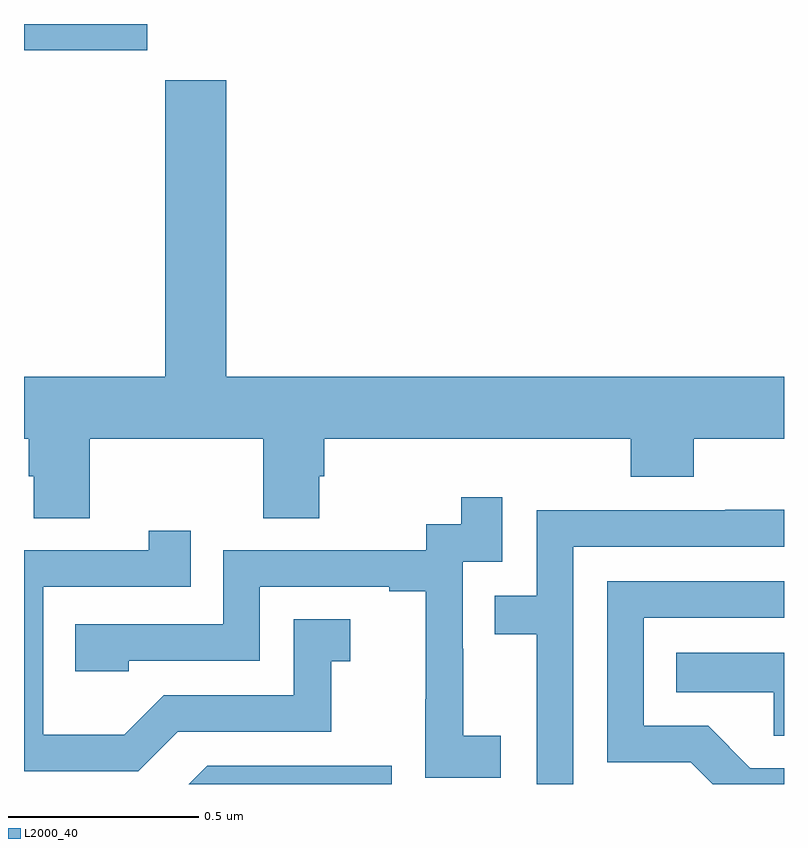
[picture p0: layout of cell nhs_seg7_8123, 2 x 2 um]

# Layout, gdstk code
import gdstk
lib = gdstk.Library(unit=1e-6, precision=1e-09)
def R(c, l, rs):  # rectangles x0, y0, x1, y1
    for r in rs: c.add(gdstk.rectangle(r[:2], r[2:], *l))
def P(c, l, *ps):  # polygons
    for p in ps: c.add(gdstk.Polygon(p, *l))
L2000_40 = (2000, 40)

nhs_seg7_8123 = lib.new_cell('nhs_seg7_8123')
R(nhs_seg7_8123, L2000_40, [(220,1042.931,220.324,1043)])
P(nhs_seg7_8123, L2000_40, [(220.173,1041.908),(220.63,1041.908),(220.63,1041.7),(220.777,1041.7),(220.777,1041.81),(220.79,1041.81),(220.79,1041.908),(221.597,1041.908),(221.597,1041.809),(221.762,1041.809),(221.762,1041.908),(222,1041.908),(222,1042.072),(220.532,1042.072),(220.532,1042.852),(220.372,1042.852),(220.372,1042.072),(220,1042.072),(220,1041.908),(220.013,1041.908),(220.013,1041.81),(220.025,1041.81),(220.025,1041.7),(220.173,1041.7)],
  [(221.254,1041.127),(221.156,1041.127),(221.156,1041.356),(221.154,1041.356),(221.154,1041.585),(221.259,1041.585),(221.259,1041.754),(221.151,1041.754),(221.151,1041.684),(221.058,1041.684),(221.058,1041.615),(220.524,1041.615),(220.524,1041.42),(220.135,1041.42),(220.135,1041.297),(220.275,1041.297),(220.275,1041.324),(220.62,1041.324),(220.62,1041.519),(220.961,1041.519),(220.961,1041.507),(221.057,1041.507),(221.057,1041.223),(221.056,1041.223),(221.056,1041.017),(221.254,1041.017)],
  [(221.445,1041.624),(222,1041.624),(222,1041.722),(221.845,1041.722),(221.845,1041.72),(221.349,1041.72),(221.349,1041.495),(221.239,1041.495),(221.239,1041.394),(221.349,1041.394),(221.349,1041),(221.445,1041)],
  [(220.405,1041.138),(220.809,1041.138),(220.809,1041.323),(220.858,1041.323),(220.858,1041.433),(220.71,1041.433),(220.71,1041.234),(220.368,1041.234),(220.264,1041.13),(220.05,1041.13),(220.05,1041.519),(220.439,1041.519),(220.439,1041.667),(220.328,1041.667),(220.328,1041.615),(220,1041.615),(220,1041.033),(220.3,1041.033)],
  [(222,1041.042),(221.911,1041.042),(221.8,1041.153),(221.631,1041.153),(221.631,1041.438),(222,1041.438),(222,1041.534),(221.535,1041.534),(221.535,1041.057),(221.754,1041.057),(221.812,1041),(222,1041)],
  [(222,1041.346),(221.716,1041.346),(221.716,1041.242),(221.973,1041.242),(221.973,1041.127),(222,1041.127)],
  [(220.968,1041.048),(220.482,1041.048),(220.434,1041),(220.968,1041)])

lib.write_gds('nhs_seg7_8123.gds')
